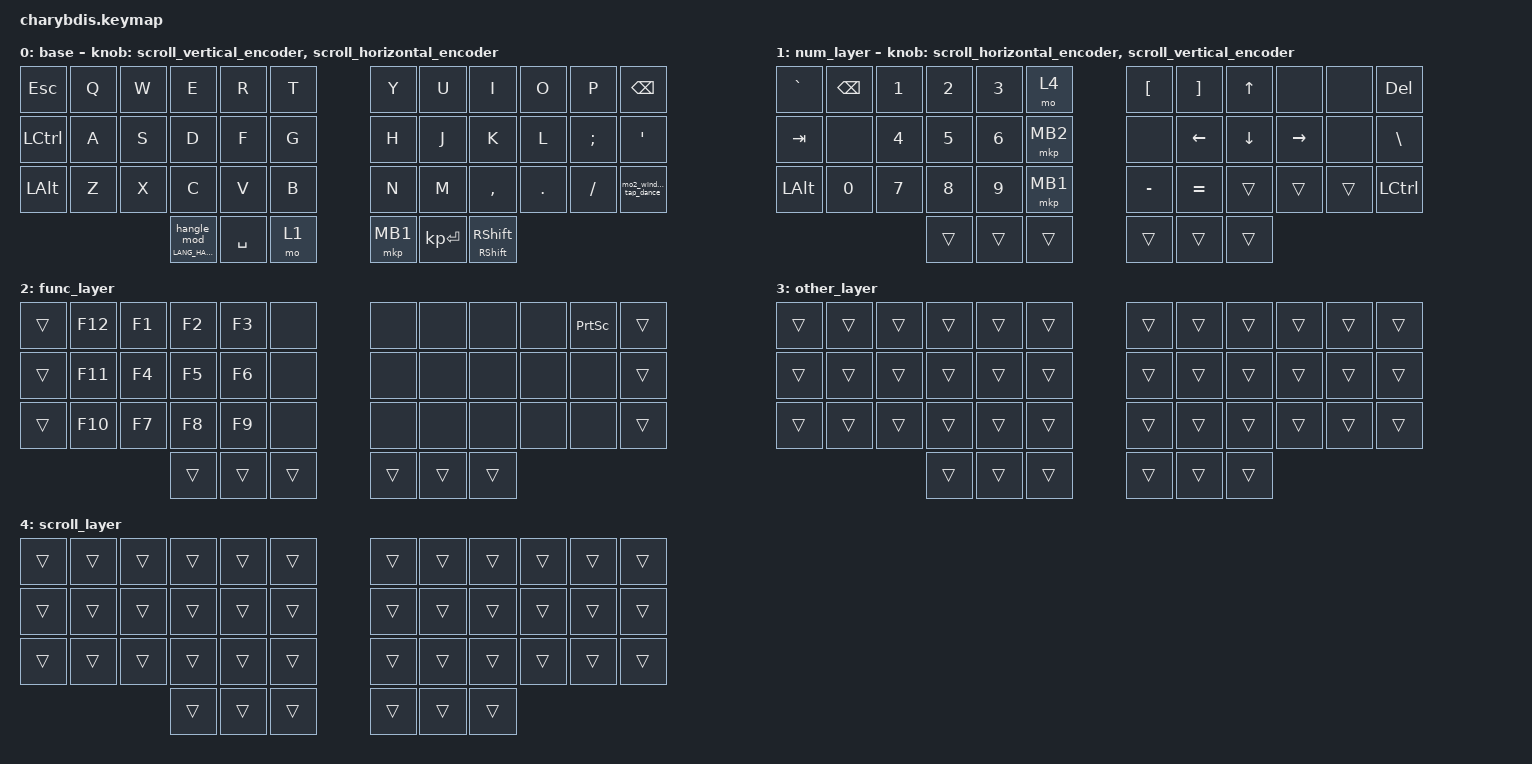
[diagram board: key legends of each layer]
#include <dt-bindings/zmk/mouse.h>
#include <input/processors.dtsi>
#include <zephyr/dt-bindings/input/input-event-codes.h>
#include <behaviors.dtsi>
#include <dt-bindings/zmk/keys.h>
#include <dt-bindings/zmk/pointing.h>
#include <dt-bindings/zmk/rgb.h>

//roll 

#define ZMK_POINTING_DEFAULT_MOVE_VAL 1000 // 600
#define ZMK_POINTING_DEFAULT_SCRL_VAL 12   // 10

&lt {
    tapping-term-ms = <200>;
    flavor = "balanced";
    quick-tap-ms = <150>;
};

// &mmv_input_listener { input-processors = <&zip_xy_scaler 2 1>; };

&msc_input_listener { input-processors = <&zip_scroll_scaler 2 1>; };

&msc {
    acceleration-exponent = <0>;      // 0
    time-to-max-speed-ms = <100>;       // 300
    delay-ms = <0>;                   // 0
};

&mmv {
    time-to-max-speed-ms = <0>;  // 300
    acceleration-exponent = <0>;  // 1
    trigger-period-ms = <8>;  //16
};

/ {
    macros {
        To1_macro: To1_macro {
            compatible = "zmk,behavior-macro";
            label = "To1_macro";
            #binding-cells = <0>;
            bindings = <&rgb_ug RGB_EFF &rgb_ug RGB_COLOR_HSB(128,100,50) &to 1>;
        };

        To0_macro: To0_macro {
            compatible = "zmk,behavior-macro";
            label = "To0_macro";
            #binding-cells = <0>;
            bindings = <&rgb_ug RGB_EFR &to 0>;
        };

        To2_macro: To2_macro {
            compatible = "zmk,behavior-macro";
            label = "To2_macro";
            #binding-cells = <0>;
            bindings =
                <&to 0>,
                <&macro_wait_time 30>,
                <&rgb_ug RGB_COLOR_HSB(250,100,50)>;
        };

        mo_en_hangul: mo_en_hangul {
            compatible = "zmk,behavior-macro";
            #binding-cells = <0>;
            bindings =
                <&kp LANG_HANGEUL>,
                <&macro_pause_for_release>,
                <&kp LANG_HANGEUL>;

            label = "MO_EN_HANGUL";
        };
    };

    // 上下滚动编码器行为

    scroll_vertical_encoder: scroll_vertical_encoder {
        compatible = "zmk,behavior-sensor-rotate";
        #sensor-binding-cells = <0>;
        bindings = <&msc SCRL_DOWN>, <&msc SCRL_UP>;

        tap-ms = <100>;
    };

    // 左右滚动编码器行为

    scroll_horizontal_encoder: scroll_horizontal_encoder {
        compatible = "zmk,behavior-sensor-rotate";
        #sensor-binding-cells = <0>;
        bindings = <&msc SCRL_LEFT>, <&msc SCRL_RIGHT>;

        tap-ms = <100>;
    };

    control_alt_tap_dance: control_alt_tap_dance {
        compatible = "zmk,behavior-tap-dance";
        label = "CONTROL_ALT_TAP_DANCE";
        #binding-cells = <0>;
        bindings = <&kp LEFT_CONTROL>, <&kp LEFT_ALT>;

        tapping-term-ms = <200>;
    };

    shift_stickey: shift_stickey {
        compatible = "zmk,behavior-sticky-key";
        label = "SHIFT_STICKEY";
        bindings = <&kp>;
        #binding-cells = <1>;
        release-after-ms = <1000>;
        quick-release;
    };

    hangle_mod: hangle_mod {
        compatible = "zmk,behavior-mod-morph";
        label = "HANGLE_MOD";
        bindings = <&shift_stickey LEFT_SHIFT>, <&kp LANG_HANGEUL>;

        #binding-cells = <0>;
        mods = <(MOD_LSFT|MOD_RSFT)>;
    };

    shift_hangle_hold_tap: shift_hangle_hold_tap {
        compatible = "zmk,behavior-hold-tap";
        label = "SHIFT_HANGLE_HOLD_TAP";
        bindings = <&mo_en_hangul>, <&hangle_mod>;

        #binding-cells = <2>;
        flavor = "tap-preferred";
        tapping-term-ms = <200>;
    };

    shift_hold_tap: shift_hold_tap {
        compatible = "zmk,behavior-hold-tap";
        label = "SHIFT_HOLD_TAP";
        bindings = <&kp>, <&shift_stickey>;

        #binding-cells = <2>;
        tapping-term-ms = <200>;
        flavor = "tap-preferred";
    };

    mo2_window_tap_dance: mo2_window_tap_dance {
        compatible = "zmk,behavior-tap-dance";
        label = "MO2_WINDOW_TAP_DANCE";
        #binding-cells = <0>;
        tapping-term-ms = <300>;
        bindings = <&mo 2>, <&kp LEFT_GUI>;
    };

    behaviors {
    };

    combos {
        compatible = "zmk,combos";

        mouse_right {
            bindings = <&mkp RCLK>;
            key-positions = <39 30>;
        };
    };

    keymap {
        compatible = "zmk,keymap";

        base {
            bindings = <
&kp ESC           &kp Q  &kp W  &kp E                                  &kp R      &kp T    &kp Y     &kp U         &kp I                                    &kp O    &kp P     &kp BSPC
&kp LEFT_CONTROL  &kp A  &kp S  &kp D                                  &kp F      &kp G    &kp H     &kp J         &kp K                                    &kp L    &kp SEMI  &kp APOS
&kp LEFT_ALT      &kp Z  &kp X  &kp C                                  &kp V      &kp B    &kp N     &kp M         &kp COMMA                                &kp DOT  &kp FSLH  &mo2_window_tap_dance
                                &shift_hangle_hold_tap LANG_HANGEUL 0  &kp SPACE  &mo 1    &mkp MB1  &kp KP_ENTER  &shift_hold_tap RIGHT_SHIFT RIGHT_SHIFT
            >;

            sensor-bindings =
                <&scroll_vertical_encoder>,
                // 编码器1：上下滚动,,,,,,,,,,,,,,,
                <&scroll_horizontal_encoder>;

            // 编码器2：左右滚动            
            //ec11-VOL：sensor-bindings = <&inc_dec_kp PG_UP PG_DN &inc_dec_kp C_VOL_UP C_VOL_DN>;
        };

        num_layer {
            bindings = <
&kp GRAVE     &kp BACKSPACE  &kp N1  &kp N2  &kp N3  &mo 4       &kp LEFT_BRACKET  &kp RIGHT_BRACKET  &kp UP_ARROW  &none      &none   &kp DEL
&kp TAB       &none          &kp N4  &kp N5  &kp N6  &mkp MB2    &none             &kp LEFT           &kp DOWN      &kp RIGHT  &none   &kp BACKSLASH
&kp LEFT_ALT  &kp N0         &kp N7  &kp N8  &kp N9  &mkp MB1    &kp MINUS         &kp EQUAL          &trans        &trans     &trans  &kp LEFT_CONTROL
                                     &trans  &trans  &trans      &trans            &trans             &trans
            >;

            sensor-bindings =
                <&scroll_horizontal_encoder>,
                // 编码器1：左右滚动    ,,,,,,,,,,,,,,,
                <&scroll_vertical_encoder>;

            // 编码器2：上下滚动
        };

        func_layer {
            bindings = <
&trans  &kp F12  &kp F1  &kp F2  &kp F3  &none     &none   &none   &none   &none  &kp PRINTSCREEN  &trans
&trans  &kp F11  &kp F4  &kp F5  &kp F6  &none     &none   &none   &none   &none  &none            &trans
&trans  &kp F10  &kp F7  &kp F8  &kp F9  &none     &none   &none   &none   &none  &none            &trans
                         &trans  &trans  &trans    &trans  &trans  &trans
            >;
        };

        other_layer {
            bindings = <
&trans  &trans  &trans  &trans  &trans  &trans    &trans  &trans  &trans  &trans  &trans  &trans
&trans  &trans  &trans  &trans  &trans  &trans    &trans  &trans  &trans  &trans  &trans  &trans
&trans  &trans  &trans  &trans  &trans  &trans    &trans  &trans  &trans  &trans  &trans  &trans
                        &trans  &trans  &trans    &trans  &trans  &trans
            >;
        };

        scroll_layer {
            bindings = <
&trans  &trans  &trans  &trans  &trans  &trans    &trans  &trans  &trans  &trans  &trans  &trans
&trans  &trans  &trans  &trans  &trans  &trans    &trans  &trans  &trans  &trans  &trans  &trans
&trans  &trans  &trans  &trans  &trans  &trans    &trans  &trans  &trans  &trans  &trans  &trans
                        &trans  &trans  &trans    &trans  &trans  &trans
            >;
        };

        /* layer_2 {
            bindings = <
&none  &none   &none    &none   &none         &none         &kp N1         &none         &none     &none  &none   &to 0
&none  &none   &none    &none   &none         &none         &none         &none          &rgb_ug RGB_BRD &rgb_ug RGB_BRI  &rgb_ug RGB_EFF   &rgb_ug RGB_TOG
&none  &none   &none    &none   &none         &none         &none         &mkp LCLK     &mkp RCLK  &none  &none   &none
&none  &none   &none    &none   &bt BT_NXT  &bt BT_CLR    &none         &none         &none     &none  &none   &none
                                   &none         &none         &none         &none         &none
                                                 &none         &none         &none
            >;
       
            
        };

       Mouse {
            bindings = <
&none        &none         &none         &none         &none      &none         &none       &none      &none         &none         &none         &none
&none        &bt BT_SEL 0  &bt BT_SEL 1  &bt BT_SEL 3  &none      &bt BT_CLR    &bt BT_CLR  &none      &bt BT_SEL 2  &bt BT_SEL 1  &bt BT_SEL 0  &none
&none        &trans        &trans        &mkp MCLK     &trans     &none         &none       &trans     &mkp MCLK     &trans        &trans        &none
&bootloader  &trans        &mkp RCLK     &mo 4         &mkp LCLK  &mo 5         &mo 5       &mkp LCLK  &mo 4         &mkp RCLK     &trans        &bootloader
                                         &mo 5         &mkp LCLK  &mkp RCLK     &mkp RCLK   &mkp LCLK
                                                       &none      &trans        &trans
            >;

            
        };

        layer_4 {
            bindings = <
&trans  &trans  &trans     &trans     &trans     &trans       &trans     &trans     &trans     &trans     &trans  &trans
&trans  &trans  &trans     &trans     &trans     &trans       &trans     &trans     &trans     &trans     &trans  &trans
&trans  &trans  &trans     &mkp MCLK  &trans     &trans       &trans     &trans     &mkp MCLK  &trans     &trans  &trans
&trans  &trans  &mkp RCLK  &trans     &mkp LCLK  &trans       &trans     &mkp LCLK  &trans     &mkp RCLK  &trans  &trans
                           &trans     &mkp LCLK  &mkp RCLK    &mkp RCLK  &mkp LCLK
                                      &trans     &trans       &trans
            >;
                
                
               
        };

        layer_5 {
            bindings = <
&trans  &trans  &trans     &trans     &trans     &trans       &trans     &trans     &trans     &trans     &trans  &trans
&trans  &trans  &trans     &trans     &trans     &trans       &trans     &trans     &trans     &trans     &trans  &trans
&trans  &trans  &trans     &mkp MCLK  &trans     &trans       &trans     &trans     &mkp MCLK  &trans     &trans  &trans
&trans  &trans  &mkp RCLK  &trans     &mkp LCLK  &trans       &trans     &mkp LCLK  &trans     &mkp RCLK  &trans  &trans
                           &trans     &mkp LCLK  &mkp RCLK    &mkp RCLK  &mkp LCLK
                                      &trans     &trans       &trans
            >;
                
                
        };*/
    };
};
